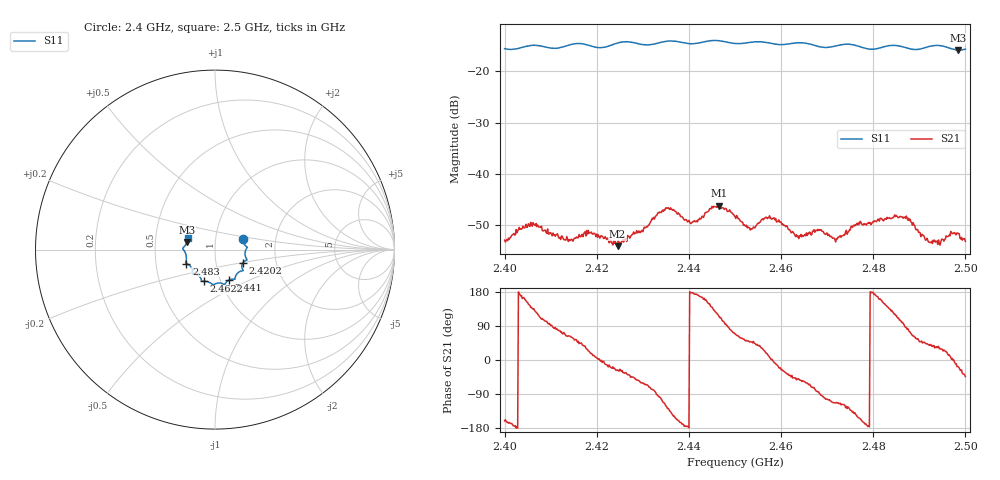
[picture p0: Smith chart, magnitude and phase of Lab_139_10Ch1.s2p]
# Hz S RI R 50
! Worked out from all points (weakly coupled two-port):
!   601 points, 2.4 GHz to 2.5 GHz, reference 50 ohm
!   highest |S21| = -46.25 dB at 2.4465 GHz (marker M1); lowest = -54.2 dB at 2.4245 GHz (marker M2)
!   lowest |S11| = -15.8 dB at 2.4985 GHz (marker M3), VSWR 1.39, Z = 36.4 + j3.14 ohm
!   |S11| at or under -10 dB: start of sweep to end of sweep
!   S12 and S22 are empty: the file has one direction only
!   S11 on the Smith chart (normalised r, x): 2.4 GHz: 1.36, +0.17; 2.4202 GHz: 1.35, -0.20; 2.441 GHz: 1.09, -0.39; 2.4622 GHz: 0.83, -0.30; 2.483 GHz: 0.72, -0.12; 2.5 GHz: 0.73, +0.09
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2.4e9  0.1562 0.06  -0.00212 -0.000739  0 0  0 0
2.405667e9  0.179 0.0141  -0.00251 0.00222  0 0  0 0
2.413333e9  0.1722 -0.0444  0.001 0.00203  0 0  0 0
2.416667e9  0.1777 -0.0582  0.00175 0.00175  0 0  0 0
2.420167e9  0.1556 -0.0719  0.00239 0.000136  0 0  0 0
2.4245e9  0.1546 -0.1105  0.00176 -0.000858  0 0  0 0
2.433333e9  0.1128 -0.1525  -0.000365 -0.00416  0 0  0 0
2.4355e9  0.1112 -0.1641  -0.00287 -0.00368  0 0  0 0
2.441e9  0.0766 -0.1706  -0.00339 0.000231  0 0  0 0
2.4465e9  0.0504 -0.1935  -0.00213 0.00438  0 0  0 0
2.45e9  0.0264 -0.186  0.00138 0.00354  0 0  0 0
2.453167e9  -0.0015 -0.1924  0.002 0.00218  0 0  0 0
2.457e9  -0.0183 -0.1907  0.00349 0.00102  0 0  0 0
2.462167e9  -0.0634 -0.1765  0.00189 -0.00187  0 0  0 0
2.466667e9  -0.0764 -0.1667  0.000788 -0.00243  0 0  0 0
2.472e9  -0.1147 -0.1363  -0.00087 -0.00215  0 0  0 0
2.483e9  -0.1594 -0.078  -0.00293 0.00234  0 0  0 0
2.483333e9  -0.161 -0.0773  -0.00269 0.00252  0 0  0 0
2.4875e9  -0.1595 -0.0538  0.00042 0.0035  0 0  0 0
2.492333e9  -0.1767 -0.000222  0.00162 0.00138  0 0  0 0
2.4985e9  -0.1564 0.0421  0.00247 -0.00082  0 0  0 0
2.5e9  -0.153 0.0633  0.00158 -0.0015  0 0  0 0
